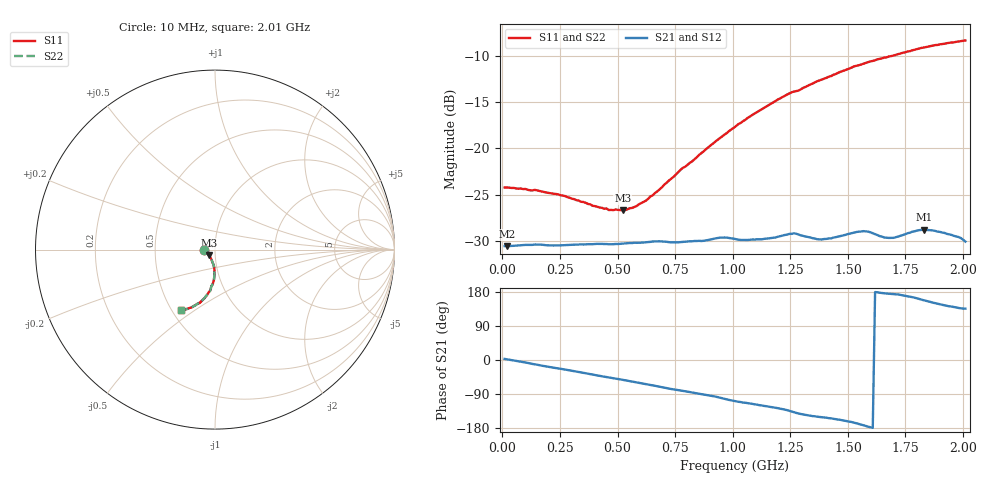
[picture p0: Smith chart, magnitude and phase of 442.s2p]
# MHz S MA R 50
!  freq  S11  S21  S12  S22
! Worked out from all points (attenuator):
!   200 points, 10 MHz to 2.01 GHz, reference 50 ohm
!   highest |S21| = -28.79 dB at 1.829 GHz (marker M1); lowest = -30.6 dB at 20.05 MHz (marker M2)
!   lowest |S11| = -26.7 dB at 522.6 MHz (marker M3), VSWR 1.10, Z = 46.7 - j3.06 ohm
!   |S11| at or under -10 dB: start of sweep to 1.689 GHz
!   |S22| runs from -26.7 to -8.3 dB; largest |S21 - S12| = 0.00021
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10  0.06144 -179.9  0.02963 2.9  0.02965 2.8  0.06155 -180.0
20.05025  0.0615 -179.4  0.0296 1.9  0.02963 1.9  0.06141 -179.3
150.7035  0.05932 -173.9  0.03019 -12.3  0.03022 -12.4  0.05955 -173.9
351.7085  0.05133 -161.1  0.03021 -33.7  0.03025 -33.9  0.05112 -160.8
462.2613  0.04643 -145.2  0.03031 -46.2  0.03033 -46.2  0.04684 -145.2
522.5628  0.04633 -135.1  0.03051 -52.3  0.03056 -52.2  0.04652 -135.0
582.8643  0.04878 -124.2  0.03086 -59.0  0.03087 -59.0  0.04893 -124.3
623.0653  0.05216 -117.2  0.03108 -63.2  0.03108 -63.3  0.05234 -117.1
683.3668  0.06015 -108.5  0.03145 -70.8  0.03146 -70.8  0.06016 -108.5
783.8693  0.07854 -97.9  0.03126 -81.2  0.03121 -81.2  0.07878 -97.8
944.6734  0.1139 -91.8  0.03291 -99.5  0.03293 -99.4  0.114 -91.8
1015.025  0.1325 -91.5  0.03226 -109.1  0.03227 -109.2  0.1326 -91.4
1125.578  0.1628 -91.7  0.03223 -119.9  0.03226 -120.0  0.1627 -91.7
1266.281  0.2031 -95.5  0.03476 -137.8  0.03474 -137.8  0.2031 -95.5
1346.683  0.2243 -96.4  0.03269 -148.1  0.03268 -148.0  0.2247 -96.4
1427.085  0.2465 -98.8  0.03261 -153.9  0.03273 -153.9  0.247 -99.1
1567.789  0.2871 -103.7  0.0357 -172.3  0.03562 -172.3  0.2868 -103.6
1678.342  0.3146 -107.1  0.0328 174.9  0.0328 174.7  0.3139 -107.3
1829.095  0.3517 -112.8  0.03635 157.6  0.03636 157.8  0.3516 -112.8
1949.698  0.3745 -116.7  0.03408 141.1  0.03414 140.9  0.3744 -116.5
1989.899  0.381 -118.7  0.03278 136.6  0.03285 136.6  0.3812 -118.8
2010  0.3841 -119.4  0.03134 135.7  0.03135 135.8  0.3848 -119.3
